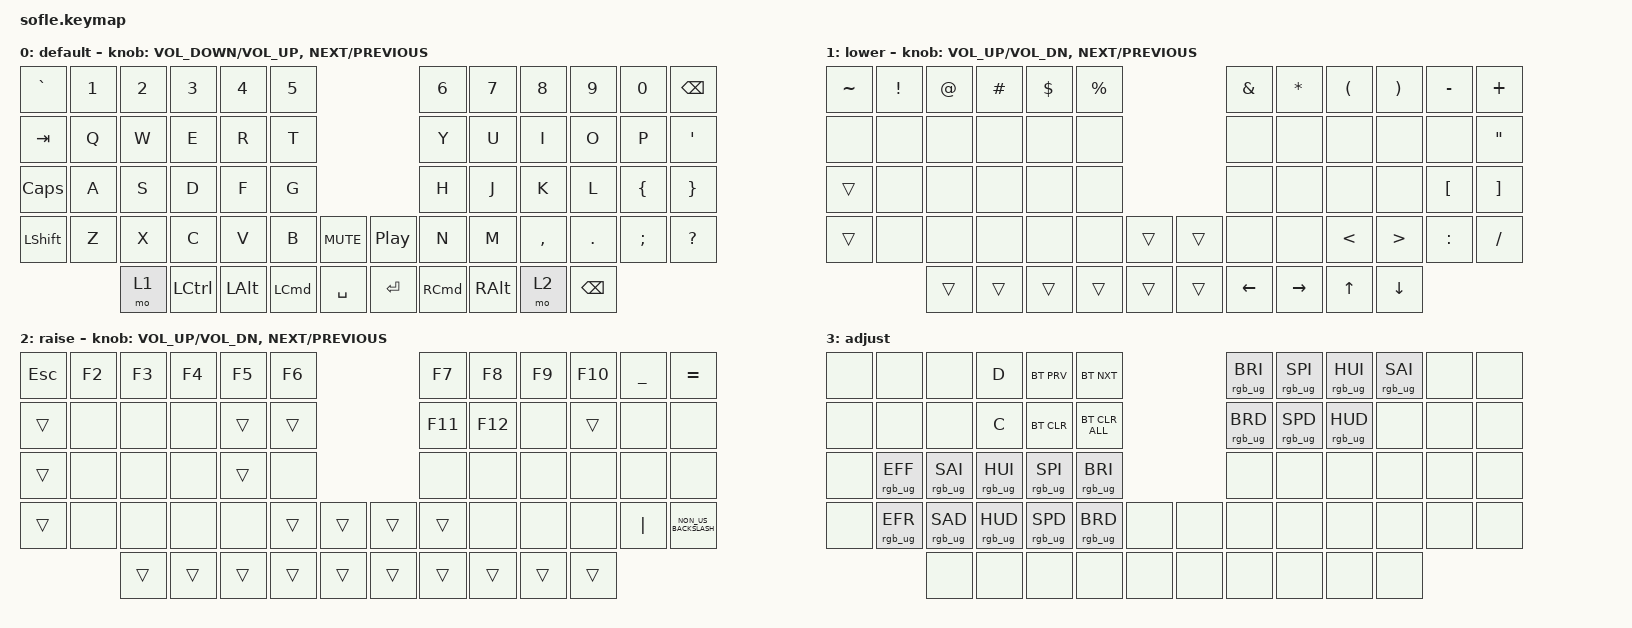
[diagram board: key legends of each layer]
/*
 * Copyright (c) 2020 The ZMK Contributors
 *
 * SPDX-License-Identifier: MIT
 */

#include <behaviors.dtsi>
#include <dt-bindings/zmk/bt.h>
#include <dt-bindings/zmk/keys.h>
#include <dt-bindings/zmk/rgb.h>

#define BASE 0
#define LOWER 1
#define RAISE 2
#define ADJUST 3

&led_strip {
    chain-length = <29>; // Sofle Using All LEDs
};

/ {
    // Activate ADJUST layer by pressing raise and lower

    conditional_layers { compatible = "zmk,conditional-layers"; };

    combos { compatible = "zmk,combos"; };

    keymap {
        compatible = "zmk,keymap";

        default_layer {
            display-name = "default";

            // ------------------------------------------------------------------------------------------------------------
            // |   `   |  1  |  2  |  3   |  4   |  5   |                   |  6   |  7    |  8    |  9   |   0   |       |
            // |  ESC  |  Q  |  W  |  E   |  R   |  T   |                   |  Y   |  U    |  I    |  O   |   P   | BKSPC |
            // |  TAB  |  A  |  S  |  D   |  F   |  G   |                   |  H   |  J    |  K    |  L   |   ;   |   '   |
            // | SHIFT |  Z  |  X  |  C   |  V   |  B   |  MUTE  |  |       |  N   |  M    |  ,    |  .   |   /   | SHIFT |
            //               | GUI | ALT  | CTRL | LOWER|  ENTER |  | SPACE | RAISE| CTRL  | ALT   | GUI  |

            bindings = <
&kp GRAVE       &kp N1  &kp N2  &kp N3            &kp N4        &kp N5                                            &kp N6             &kp N7         &kp N8     &kp N9         &kp N0          &kp BACKSPACE
&kp TAB         &kp Q   &kp W   &kp E             &kp R         &kp T                                             &kp Y              &kp U          &kp I      &kp O          &kp P           &kp SINGLE_QUOTE
&kp CAPSLOCK    &kp A   &kp S   &kp D             &kp F         &kp G                                             &kp H              &kp J          &kp K      &kp L          &kp LEFT_BRACE  &kp RIGHT_BRACE
&kp LEFT_SHIFT  &kp Z   &kp X   &kp C             &kp V         &kp B             &kp C_MUTE    &kp C_PLAY_PAUSE  &kp N              &kp M          &kp COMMA  &kp DOT        &kp SEMICOLON   &kp QUESTION
                        &mo 1   &kp LEFT_CONTROL  &kp LEFT_ALT  &kp LEFT_COMMAND  &kp SPACE     &kp ENTER         &kp RIGHT_COMMAND  &kp RIGHT_ALT  &mo 2      &kp BACKSPACE
            >;

            sensor-bindings =
                <&inc_dec_kp C_VOLUME_DOWN C_VOL_UP>,
                <&inc_dec_kp C_NEXT C_PREVIOUS>;
        };

        lower_layer {
            display-name = "lower";

            // TODO: Some binds are waiting for shifted keycode support.
            // ------------------------------------------------------------------------------------------------------------
            // |       |  F1 |  F2 |  F3  |  F4  |  F5  |                   |  F6  |  F7   |  F8   |  F9  |  F10  |  F11  |
            // |   `   |  1  |  2  |  3   |  4   |  5   |                   |  6   |  7    |  8    |  9   |   0   |  F12  |
            // |       |  !  |  @  |  #   |  $   |  %   |                   |  ^   |  &    |  *    |  (   |   )   |   |   |
            // |       |  =  |  -  |  +   |  {   |  }   |        |  |       |  [   |  ]    |  ;    |  :   |   \   |       |
            //               |     |      |      |      |        |  |       |      |       |       |      |

            bindings = <
&kp TILDE  &kp EXCLAMATION  &kp AT_SIGN  &kp HASH  &kp DOLLAR  &kp PERCENT                    &kp AMPERSAND   &kp ASTERISK     &kp LEFT_PARENTHESIS  &kp RIGHT_PARENTHESIS  &kp MINUS         &kp PLUS
&none      &none            &none        &none     &none       &none                          &none           &none            &none                 &none                  &none             &kp DOUBLE_QUOTES
&trans     &none            &none        &none     &none       &none                          &none           &none            &none                 &none                  &kp LEFT_BRACKET  &kp RIGHT_BRACKET
&trans     &none            &none        &none     &none       &none        &trans    &trans  &none           &none            &kp LESS_THAN         &kp GREATER_THAN       &kp COLON         &kp SLASH
                            &trans       &trans    &trans      &trans       &trans    &trans  &kp LEFT_ARROW  &kp RIGHT_ARROW  &kp UP_ARROW          &kp DOWN_ARROW
            >;

            sensor-bindings =
                <&inc_dec_kp C_VOL_UP C_VOL_DN>,
                <&inc_dec_kp C_NEXT C_PREVIOUS>;
        };

        raise_layer {
            display-name = "raise";

            // ------------------------------------------------------------------------------------------------------------
            // | BTCLR | BT1  | BT2  |  BT3  |  BT4  |  BT5 |                |      |      |       |      |       |       |
            // |       | INS  | PSCR | GUI   |       |      |                | PGUP |      |   ^   |      |       |       |
            // |       | ALT  | CTRL | SHIFT |       | CAPS |                | PGDN |   <- |   v   |  ->  |  DEL  | BKSPC |
            // |       | UNDO | CUT  | COPY  | PASTE |      |      |  |      |      |      |       |      |       |       |
            //                |      |       |       |      |      |  |      |      |      |       |      |

            bindings = <
&kp ESC  &kp F2  &kp F3  &kp F4  &kp F5  &kp F6                    &kp F7   &kp F8   &kp F9  &kp F10  &kp UNDER  &kp EQUAL
&trans   &none   &none   &none   &trans  &trans                    &kp F11  &kp F12  &none   &trans   &none      &none
&trans   &none   &none   &none   &trans  &none                     &none    &none    &none   &none    &none      &none
&trans   &none   &none   &none   &none   &trans  &trans    &trans  &trans   &none    &none   &none    &kp PIPE   &kp NON_US_BACKSLASH
                 &trans  &trans  &trans  &trans  &trans    &trans  &trans   &trans   &trans  &trans
            >;

            sensor-bindings =
                <&inc_dec_kp C_VOL_UP C_VOL_DN>,
                <&inc_dec_kp C_NEXT C_PREVIOUS>;
        };

        adjust_layer {
            // ----------------------------------------------------------------------------------------------------------------------------
            // | BTCLR  |  BT1    |  BT2    |   BT3   |   BT4   |   BT5   |                  |      |      |       |      |       |       |
            // | EXTPWR | RGB_HUD | RGB_HUI | RGB_SAD | RGB_SAI | RGB_EFF |                  |      |      |       |      |       |       |
            // |        | RGB_BRD | RGB_BRI |         |         |         |                  |      |      |       |      |       |       |
            // |        |         |         |         |         |         | RGB_TOG | |      |      |      |       |      |       |       |
            //                    |         |         |         |         |         | |      |      |      |       |      |

            display-name = "adjust";
            bindings = <
&none  &none            &none            &kp D            &bt BT_PRV       &bt BT_NXT                       &rgb_ug RGB_BRI  &rgb_ug RGB_SPI  &rgb_ug RGB_HUI  &rgb_ug RGB_SAI  &none  &none
&none  &none            &none            &kp C            &bt BT_CLR       &bt BT_CLR_ALL                   &rgb_ug RGB_BRD  &rgb_ug RGB_SPD  &rgb_ug RGB_HUD  &none            &none  &none
&none  &rgb_ug RGB_EFF  &rgb_ug RGB_SAI  &rgb_ug RGB_HUI  &rgb_ug RGB_SPI  &rgb_ug RGB_BRI                  &none            &none            &none            &none            &none  &none
&none  &rgb_ug RGB_EFR  &rgb_ug RGB_SAD  &rgb_ug RGB_HUD  &rgb_ug RGB_SPD  &rgb_ug RGB_BRD  &none    &none  &none            &none            &none            &none            &none  &none
                        &none            &none            &none            &none            &none    &none  &none            &none            &none            &none
            >;
        };
    };
};
